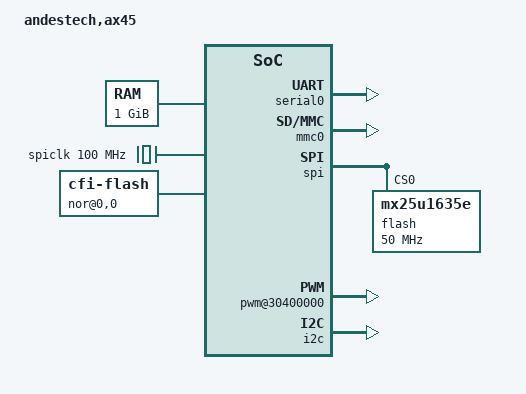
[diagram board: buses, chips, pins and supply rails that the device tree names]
// SPDX-License-Identifier: (GPL-2.0 OR MIT)

/dts-v1/;

#include "binman.dtsi"

/ {
	#address-cells = <0x2>;
	#size-cells = <0x2>;
	compatible = "andestech,ax45";
	model = "andestech,ax45";

	aliases {
		uart0 = &serial0;
		spi0 = &spi;
		i2c0 = &i2c;
	};

	chosen {
		bootargs = "console=ttyS0,38400n8 earlycon=sbi debug loglevel=7";
		stdout-path = "uart0:38400n8";
	};

	cpus {
		#address-cells = <0x1>;
		#size-cells = <0x0>;
		timebase-frequency = <0x3938700>;

		CPU0: cpu@0 {
			device_type = "cpu";
			reg = <0x0>;
			status = "okay";
			compatible = "riscv";
			riscv,isa = "rv64imafdc";
			riscv,priv-major = <0x1>;
			riscv,priv-minor = <0xa>;
			mmu-type = "riscv,sv39";
			clock-frequency = <0x3938700>;
			i-cache-size = <0x8000>;
			i-cache-line-size = <0x20>;
			d-cache-size = <0x8000>;
			d-cache-line-size = <0x20>;
			next-level-cache = <&L2>;

			CPU0_intc: interrupt-controller {
				#interrupt-cells = <0x1>;
				interrupt-controller;
				compatible = "riscv,cpu-intc";
			};
		};

		CPU1: cpu@1 {
			device_type = "cpu";
			reg = <0x1>;
			status = "okay";
			compatible = "riscv";
			riscv,isa = "rv64imafdc";
			riscv,priv-major = <0x1>;
			riscv,priv-minor = <0xa>;
			mmu-type = "riscv,sv39";
			clock-frequency = <0x3938700>;
			i-cache-size = <0x8000>;
			i-cache-line-size = <0x20>;
			d-cache-size = <0x8000>;
			d-cache-line-size = <0x20>;
			next-level-cache = <&L2>;

			CPU1_intc: interrupt-controller {
				#interrupt-cells = <0x1>;
				interrupt-controller;
				compatible = "riscv,cpu-intc";
			};
		};

		CPU2: cpu@2 {
			device_type = "cpu";
			reg = <0x2>;
			status = "okay";
			compatible = "riscv";
			riscv,isa = "rv64imafdc";
			riscv,priv-major = <0x1>;
			riscv,priv-minor = <0xa>;
			mmu-type = "riscv,sv39";
			clock-frequency = <0x3938700>;
			i-cache-size = <0x8000>;
			i-cache-line-size = <0x20>;
			d-cache-size = <0x8000>;
			d-cache-line-size = <0x20>;
			next-level-cache = <&L2>;

			CPU2_intc: interrupt-controller {
				#interrupt-cells = <0x1>;
				interrupt-controller;
				compatible = "riscv,cpu-intc";
			};
		};

		CPU3: cpu@3 {
			device_type = "cpu";
			reg = <0x3>;
			status = "okay";
			compatible = "riscv";
			riscv,isa = "rv64imafdc";
			riscv,priv-major = <0x1>;
			riscv,priv-minor = <0xa>;
			mmu-type = "riscv,sv39";
			clock-frequency = <0x3938700>;
			i-cache-size = <0x8000>;
			i-cache-line-size = <0x20>;
			d-cache-size = <0x8000>;
			d-cache-line-size = <0x20>;
			next-level-cache = <&L2>;

			CPU3_intc: interrupt-controller {
				#interrupt-cells = <0x1>;
				interrupt-controller;
				compatible = "riscv,cpu-intc";
			};
		};
	};

	L2: l2-cache@200000 {
		compatible = "cache";
		cache-level = <0x2>;
		cache-size = <0x40000>;
		reg = <0x0 0x00200000 0x0 0x100000>;
		andes,inst-prefetch = <0x3>;
		andes,data-prefetch = <0x3>;
		andes,tag-ram-ctl = <0x0 0x0>;
		andes,data-ram-ctl = <0x0 0x0>;
	};

	memory@400000000 {
		device_type = "memory";
		reg = <0x04 0x00000000 0x0 0x40000000>;
	};

	soc {
		#address-cells = <0x2>;
		#size-cells = <0x2>;
		compatible = "andestech,riscv-ae350-soc", "simple-bus";
		ranges;

		plic0: interrupt-controller@2000000 {
			compatible = "riscv,plic0";
			#address-cells = <0x2>;
			#interrupt-cells = <0x2>;
			interrupt-controller;
			reg = <0x0 0x02000000 0x0 0x2000000>;
			riscv,ndev = <0x47>;
			interrupts-extended = <&CPU0_intc 11 &CPU0_intc 9
				&CPU1_intc 11 &CPU1_intc 9
				&CPU2_intc 11 &CPU2_intc 9
				&CPU3_intc 11 &CPU3_intc 9>;
		};

		plic1: interrupt-controller@400000 {
			compatible = "riscv,plic1";
			#address-cells = <0x2>;
			#interrupt-cells = <0x2>;
			interrupt-controller;
			reg = <0x0 0x00400000 0x0 0x400000>;
			riscv,ndev = <0x1>;
			interrupts-extended = <&CPU0_intc 3
				&CPU1_intc 3
				&CPU2_intc 3
				&CPU3_intc 3>;
		};

		plmt0@100000 {
			compatible = "riscv,plmt0";
			reg = <0x0 0x00100000 0x0 0x100000>;
			interrupts-extended = <&CPU0_intc 7
				&CPU1_intc 7
				&CPU2_intc 7
				&CPU3_intc 7>;
		};
	};

	spiclk: virt_100mhz {
		#clock-cells = <0x0>;
		compatible = "fixed-clock";
		clock-frequency = <0x5f5e100>;
	};

	smu@30100000 {
		compatible = "andestech,atcsmu";
		reg = <0x0 0x30100000 0x0 0x100000>;
	};

	wdt@30500000 {
		compatible = "andestech,atcwdt200";
		interrupts = <0x0 0x4>;
		reg = <0x0 0x30500000 0x0 0x100000>;
		clock-frequency = <0xe4e1c0>;
		interrupt-parent = <&plic0>;
	};

	timer0: timer@30400000 {
		compatible = "andestech,atcpit100";
		reg = <0x0 0x30400000 0x0 0x100000>;
		clock-frequency = <0x3938700>;
		interrupts = <0x3 0x4>;
		interrupt-parent = <&plic0>;
	};

	serial0: serial@30300000 {
		compatible = "andestech,uart16550", "ns16550a";
		reg = <0x0 0x30300000 0x0 0x1000>;
		interrupts = <0x9 0x4>;
		clock-frequency = <0x12c0000>;
		reg-shift = <0x2>;
		reg-offset = <0x20>;
		no-loopback-test = <0x1>;
		interrupt-parent = <&plic0>;
	};

	gpio@30700000 {
		compatible = "andestech,atcgpio100";
		reg = <0x0 0x30700000 0x0 0x100000>;
		interrupts = <0x7 0x4>;
		interrupt-parent = <&plic0>;
	};

	rtc@30600000 {
		compatible = "andestech,atcrtc100";
		reg = <0x0 0x30600000 0x0 0x100000>;
		interrupts = <0x1 0x4 0x2 0x4>;
		interrupt-parent = <&plic0>;
		wakeup-source;
	};

	mmc0: mmc@30c00000 {
		compatible = "andestech,atfsdc010";
		max-frequency = <0x5f5e100>;
		clock-freq-min-max = <0x61a80 0x5f5e100>;
		fifo-depth = <0x10>;
		reg = <0x0 0x30c00000 0x0 0x1000>;
		interrupts = <0x12 0x4>;
		cap-sd-highspeed;
		interrupt-parent = <&plic0>;
		dma-coherent;
	};

	dma0: dma@30a00000 {
		compatible = "andestech,atcdmac300";
		reg = <0x0 0x30a00000 0x0 0x100000>;
		interrupts = <0xa 0x4 0x40 0x4 0x41 0x4 0x42 0x4 0x43 0x4 0x44 0x4 0x45 0x4 0x46 0x4 0x47 0x4>;
		dma-channels = <0x8>;
		interrupt-parent = <&plic0>;
		dma-coherent;
	};

	pmu {
		device_type = "pmu";
		compatible = "riscv,andes-pmu";
	};

	nor@0,0 {
		compatible = "cfi-flash";
		reg = <0x0 0x88000000 0x0 0x1000>;
		bank-width = <0x2>;
		device-width = <0x1>;
	};

	spi: spi@30900000 {
		compatible = "andestech,atcspi200";
		reg = <0x0 0x30900000 0x0 0x100000>;
		#address-cells = <0x1>;
		#size-cells = <0x0>;
		num-cs = <0x1>;
		clocks = <&spiclk>;
		interrupts = <0x4 0x4>;
		interrupt-parent = <&plic0>;

		flash@0 {
			compatible = "mx25u1635e", "jedec,spi-nor";
			spi-max-frequency = <0x2faf080>;
			reg = <0x0>;
			spi-cpol;
			spi-cpha;
		};
	};

	pwm@30400000 {
		compatible = "andestech,atcpit100-pwm";
		reg = <0x0 0x30400000 0x0 0x100000>;
		clock-frequency = <0x3938700>;
		interrupts = <0x3 0x4>;
		interrupt-parent = <&plic0>;
		pwm-cells = <0x2>;
	};

	i2c: i2c@30800000 {
		compatible = "andestech,atciic100";
		reg = <0x0 0x30800000 0x0 0x100000>;
		interrupts = <0x6 0x4>;
		interrupt-parent = <&plic0>;
	};

};
